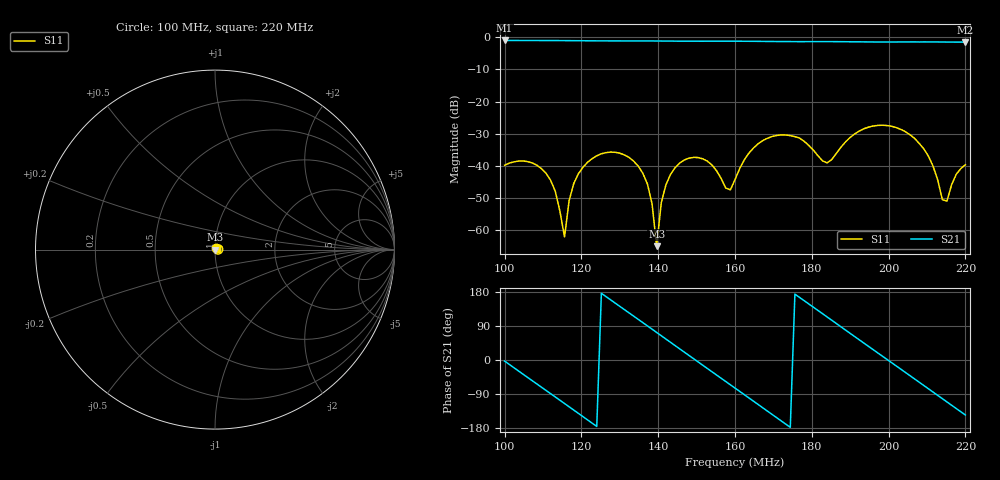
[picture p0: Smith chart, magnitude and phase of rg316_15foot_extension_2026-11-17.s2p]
# HZ S RI R 50
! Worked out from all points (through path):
!   101 points, 100 MHz to 220 MHz, reference 50 ohm
!   highest |S21| = -1.03 dB at 100 MHz (marker M1); lowest = -1.6 dB at 220 MHz (marker M2)
!   group delay of S21, straight-line fit = 20 ns
!   lowest |S11| = -64.9 dB at 139.6 MHz (marker M3), VSWR 1.00, Z = 50 - j0.0313 ohm
!   |S11| at or under -10 dB: start of sweep to end of sweep
!   S12 and S22 are empty: the file has one direction only
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1e8  0.00698 0.00755  0.887 -0.0441  0 0  0 0
1.108e8  0.00701 -0.00312  0.148 -0.8733  0 0  0 0
1.132e8  0.00283 -0.00289  -0.1165 -0.877  0 0  0 0
1.156e8  -0.000792 -3.82e-05  -0.3704 -0.8015  0 0  0 0
1.168e8  -0.00186 0.00222  -0.4858 -0.7361  0 0  0 0
1.204e8  -0.000391 0.00953  -0.7562 -0.4478  0 0  0 0
1.264e8  0.0111 0.0117  -0.8535 0.1914  0 0  0 0
1.336e8  0.0116 -0.00251  -0.3799 0.7867  0 0  0 0
1.372e8  0.00372 -0.0037  0.000398 0.873  0 0  0 0
1.396e8  -0.000476 -0.000313  0.259 0.8317  0 0  0 0
1.408e8  -0.00159 0.00217  0.3811 0.7821  0 0  0 0
1.432e8  -0.0012 0.00729  0.5964 0.6334  0 0  0 0
1.48e8  0.00726 0.0111  0.8462 0.1821  0 0  0 0
1.6e8  -0.00596 -0.0015  0.2375 -0.8311  0 0  0 0
1.708e8  0.00704 0.0289  -0.7536 -0.4042  0 0  0 0
1.804e8  0.0166 0.00597  -0.6473 0.5545  0 0  0 0
1.84e8  0.00781 0.00797  -0.3405 0.7814  0 0  0 0
1.9e8  0.0133 0.0244  0.2863 0.7974  0 0  0 0
2.008e8  0.0399 -0.0106  0.8337 -0.1043  0 0  0 0
2.092e8  0.000628 -0.0183  0.3225 -0.7793  0 0  0 0
2.14e8  -0.00299 -0.000205  -0.175 -0.8223  0 0  0 0
2.2e8  0.0102 0.00245  -0.6863 -0.4782  0 0  0 0
